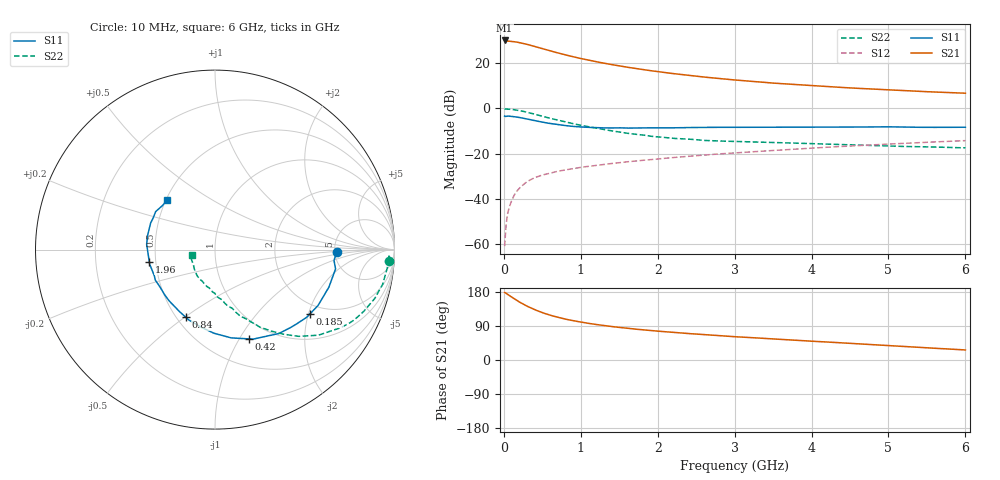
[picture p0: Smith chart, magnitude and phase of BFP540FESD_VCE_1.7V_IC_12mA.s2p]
! Infineon Technologies  Discrete & RF Semiconductors
! BFP540FESD
! VCE =  1.7 V,  IC =  12 mA
! Common Emitter S-Parameters:  Nov 2015
# GHz  S  MA  R  50
!  f  S11  S21  S12  S22
! GHz  MAG  ANG  MAG  ANG  MAG  ANG  MAG  ANG
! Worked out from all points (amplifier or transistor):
!   210 points, 10 MHz to 6 GHz, reference 50 ohm
!   highest |S21| = 30.1 dB at 10 MHz (marker M1)
!   |S21| within 3 dB of that: start of sweep to 436.6 MHz
!   unconditionally stable (mu >= 1): 2.053 GHz to end of sweep
!   at 185 MHz: K = 0.19, MSG = 32.6 dB, |S12| = -36.0 dB
!   at 1.52 GHz: K = 0.88, MSG = 21.3 dB, |S12| = -23.9 dB
!   at 6 GHz: K = 1.20, MAG = 7.8 dB, |S12| = -14.2 dB
!   S11 on the Smith chart (normalised r, x): 10 MHz: 5.20, -0.25; 185 MHz: 1.70, -2.05; 420 MHz: 0.79, -1.10; 840 MHz: 0.56, -0.50; 1.96 GHz: 0.46, -0.07; 6 GHz: 0.51, +0.33
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0.01  0.6783 -1.1  31.9 178.1  0.0009 113.7  0.9693 -3.8
0.02  0.6658 -5.2  30.73 177.2  0.0016 91.3  0.9706 -2.1
0.05  0.6804 -9.1  31.02 173.2  0.0048 90.2  0.9664 -5.7
0.1  0.6681 -18.3  30.51 166.3  0.009 84.3  0.9539 -11.7
0.15  0.6531 -28.5  29.84 159.8  0.0134 76.0  0.9303 -17.1
0.185  0.6393 -34.0  28.96 155.3  0.0159 75.0  0.9067 -20.8
0.24  0.6139 -42.7  27.65 148.9  0.0197 72.5  0.871 -26.5
0.3  0.5877 -52.7  26.2 142.2  0.0239 69.7  0.8255 -31.8
0.42  0.5319 -69.3  23 131.3  0.0302 63.2  0.7322 -40.8
0.5  0.5001 -79.6  21.09 124.8  0.0337 60.4  0.6719 -46.0
0.6  0.466 -90.7  18.79 118.2  0.0368 58.9  0.6066 -51.0
0.7  0.4389 -100.3  16.95 112.8  0.0408 57.0  0.5526 -55.3
0.84  0.4107 -113.4  14.74 106.3  0.0449 55.8  0.4849 -60.8
1.02  0.3879 -126.4  12.51 99.5  0.0504 54.4  0.4186 -66.4
1.2  0.3767 -138.4  10.8 93.7  0.055 53.5  0.3669 -71.7
1.42  0.3709 -149.1  9.227 87.9  0.0612 53.6  0.3168 -77.9
1.96  0.3726 -169.6  6.663 76.9  0.0752 52.4  0.2391 -92.1
2.02  0.3726 -171.7  6.458 75.8  0.0769 52.3  0.2343 -93.8
3.1  0.3836 167.2  4.138 60.4  0.1065 49.3  0.1846 -116.9
4.1  0.3875 156.4  3.121 48.6  0.1359 45.0  0.1645 -131.9
5.1  0.3899 145.9  2.532 36.9  0.1662 38.3  0.1456 -147.0
6  0.3841 133.8  2.173 26.5  0.1942 31.7  0.1345 -166.5
